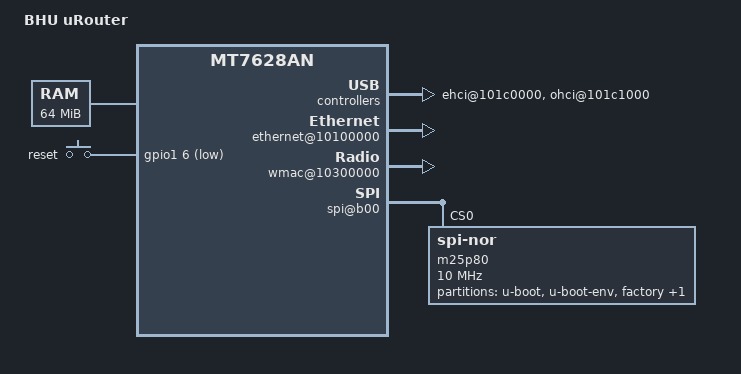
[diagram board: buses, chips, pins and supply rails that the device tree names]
/dts-v1/;

/include/ "mt7628an.dtsi"

/ {
	compatible = "urouter", "mediatek,mt7628an-soc";
	model = "BHU uRouter";

	chosen {
		bootargs = "console=ttyS0,115200";
	};

	memory@0 {
		device_type = "memory";
		reg = <0x0 0x4000000>;
	};

	pinctrl {
		state_default: pinctrl0 {
			gpio {
				ralink,group = "gpio";
				ralink,function = "gpio";
			};
		};
	};

	gpio-keys-polled {
		compatible = "gpio-keys-polled";
		#address-cells = <1>;
		#size-cells = <0>;
		poll-interval = <20>;

		reset {
			label = "reset";
			gpios = <&gpio1 6 1>;
			linux,code = <0x198>;
		};
	};

	ehci@101c0000 {
		status = "okay";
	};

	ohci@101c1000 {
		status = "okay";
	};

	ethernet@10100000 {
		status = "okay";
		mtd-mac-address = <&factory 0x4>;
		mediatek,portmap = "llllw";
	};

	esw@10110000 {
		status = "okay";
		ralink,portmap = <0x2f>;
	};

	wmac@10300000 {
		status = "okay";
		ralink,mtd-eeprom = <&factory 0>;
	};

	palmbus@10000000 {
		spi@b00 {
			status = "okay";

			m25p80@0 {
				#address-cells = <1>;
				#size-cells = <1>;
				compatible = "jedec,spi-nor";
				reg = <0 0>;
				linux,modalias = "m25p80";
				spi-max-frequency = <10000000>;
				m25p,chunked-io = <32>;

				partition@0 {
					label = "u-boot";
					reg = <0x0 0x30000>;
					read-only;
				};

				partition@30000 {
					label = "u-boot-env";
					reg = <0x30000 0x10000>;
					read-only;
				};

				factory: partition@40000 {
					label = "factory";
					reg = <0x40000 0x10000>;
					read-only;
				};

				partition@50000 {
					label = "firmware";
					reg = <0x50000 0xfb0000>;
				};
			};
		};
	};
};
